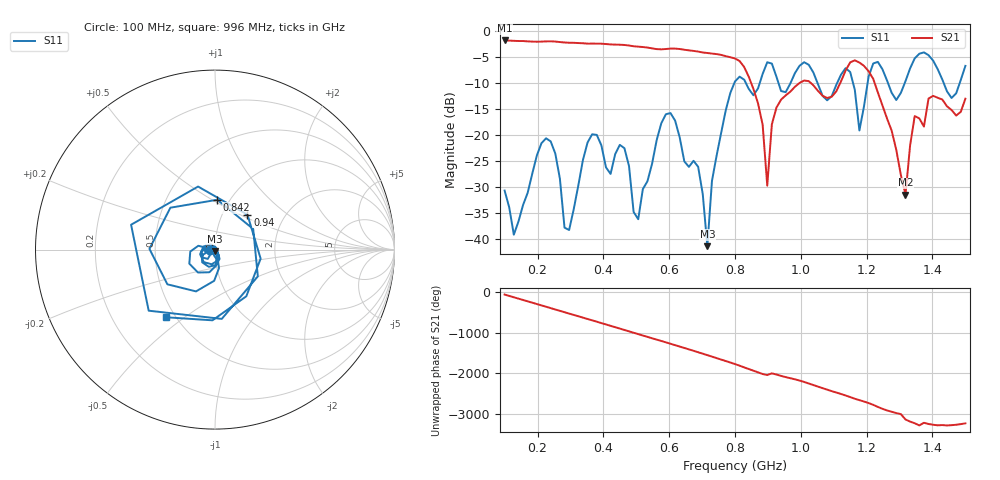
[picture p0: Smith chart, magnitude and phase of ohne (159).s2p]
! NanoVNA-App
! Date: 2025-09-25 14:22:02
! Start: 100MHz Stop: 1,5GHz Points: 101
! S-Parameter data: F S11 S21 S12 S22
# Hz S RI R 50
!  Frequency  S11_Real  S11_Imag  S21_Real  S21_Imag  S12_Real  S12_Imag  S22_Real  S22_Imag
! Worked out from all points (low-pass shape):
!   101 points, 100 MHz to 1.5 GHz, reference 50 ohm
!   highest |S21| = -1.79 dB at 100 MHz (marker M1); lowest = -31.4 dB at 1.318 GHz (marker M2)
!   |S21| within 3 dB of the highest: start of sweep to 770.9 MHz
!   lowest |S11| = -41.3 dB at 716 MHz (marker M3), VSWR 1.02, Z = 49.8 - j0.827 ohm
!   |S11| at or under -10 dB: start of sweep to 797.9 MHz; 833.2 MHz to 875.1 MHz (41.92 MHz wide, 4.91 % of centre); 1.051 GHz to 1.11 GHz (59.25 MHz wide, 5.48 % of centre) (the widest 3 of 7)
!   S12 and S22 are empty: the file has one direction only
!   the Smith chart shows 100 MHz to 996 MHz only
!   S11 on the Smith chart (normalised r, x): 100 MHz: 0.94, -0.01; 842 MHz: 0.88, +0.53; 940 MHz: 1.31, +0.55; 996 MHz: 0.45, -0.43
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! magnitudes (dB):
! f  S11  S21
! 100 MHz  -30.6  -1.8
! 128 MHz  -39.1  -1.9
! 226 MHz  -20.6  -2.0
! 296 MHz  -38.2  -2.2
! 338 MHz  -24.8  -2.3
! 464 MHz  -22.5  -2.7
! 506 MHz  -36.1  -3.0
! 576 MHz  -17.7  -3.5
! 688 MHz  -26.1  -3.9
! 716 MHz  -41.3  -4.2
! 800 MHz  -9.7  -5.3
! 842 MHz  -11.1  -8.8
! 898 MHz  -6.0  -29.7
! 940 MHz  -11.5  -13.2
! 996 MHz  -6.7  -10.0
! 1.038 GHz  -7.9  -10.4
! 1.178 GHz  -19.1  -6.0
! 1.22 GHz  -6.2  -9.2
! 1.276 GHz  -11.9  -19.1
! 1.318 GHz  -9.6  -31.4
! 1.346 GHz  -5.2  -16.3
! 1.5 GHz  -6.7  -13.0
